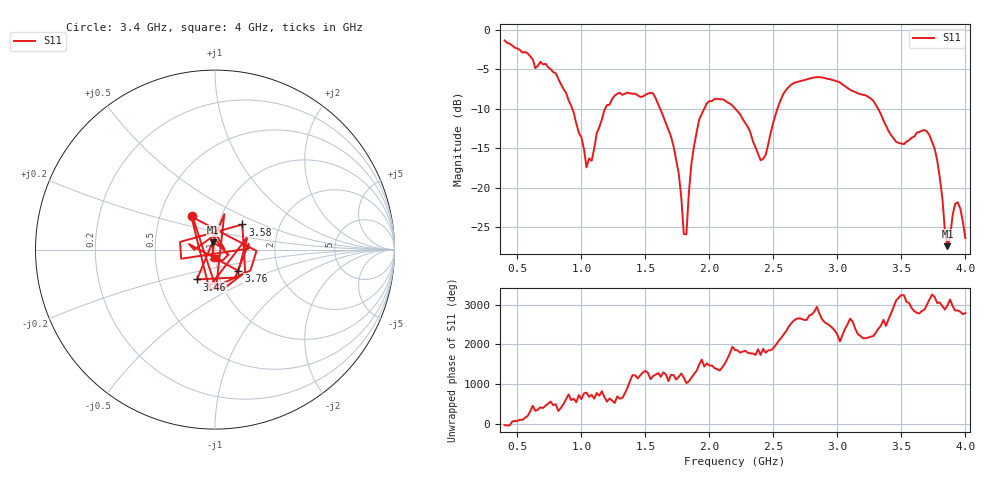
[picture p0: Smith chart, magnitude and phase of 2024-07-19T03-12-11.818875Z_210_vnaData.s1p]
!Created with skrf (http://scikit-rf.org).
# Hz S RI R 50.0
!freq ReS11 ImS11
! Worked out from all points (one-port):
!   181 points, 400 MHz to 4 GHz, reference 50 ohm
!   lowest |S11| = -27.4 dB at 3.86 GHz (marker M1), VSWR 1.09, Z = 48.6 + j3.97 ohm
!   |S11| at or under -10 dB: 1.615 GHz to 1.96 GHz (345.4 MHz wide, 19.3 % of centre); 2.201 GHz to 2.532 GHz (330.5 MHz wide, 14 % of centre); 3.318 GHz to end of sweep (the widest 3 of 4)
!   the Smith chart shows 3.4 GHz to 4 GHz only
!   S11 on the Smith chart (normalised r, x): 3.4 GHz: 0.73, +0.29; 3.46 GHz: 0.78, -0.27; 3.58 GHz: 1.30, +0.38; 3.76 GHz: 1.26, -0.31; 4 GHz: 1.00, -0.10
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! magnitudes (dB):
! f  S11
! 400 MHz  -1.4
! 860 MHz  -7.5
! 1.04 GHz  -17.4
! 1.18 GHz  -10.2
! 1.3 GHz  -8.0
! 1.56 GHz  -8.1
! 1.7 GHz  -13.5
! 1.76 GHz  -18.2
! 1.8 GHz  -25.9
! 1.82 GHz  -25.9
! 1.86 GHz  -16.9
! 1.92 GHz  -11.4
! 2.04 GHz  -8.8
! 2.2 GHz  -10.0
! 2.4 GHz  -16.5
! 2.56 GHz  -8.8
! 2.66 GHz  -6.8
! 3.1 GHz  -7.6
! 3.28 GHz  -9.0
! 3.4 GHz  -12.9
! 3.46 GHz  -14.2
! 3.56 GHz  -14.0
! 3.58 GHz  -13.7
! 3.68 GHz  -12.7
! 3.76 GHz  -15.1
! 3.86 GHz  -27.4
! 3.94 GHz  -21.9
! 4 GHz  -26.4
